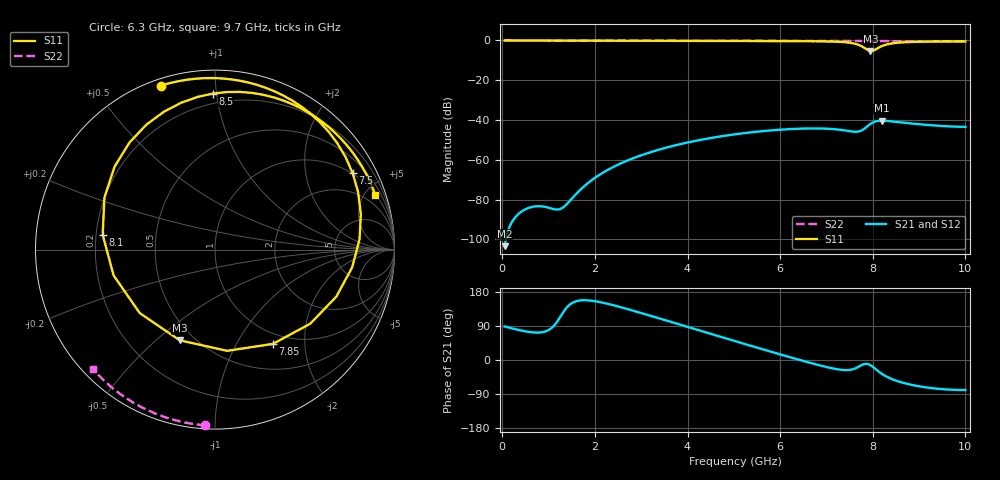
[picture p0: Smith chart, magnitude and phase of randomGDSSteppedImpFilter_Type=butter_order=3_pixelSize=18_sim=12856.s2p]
! freq	dB(S11)	phase(S11)	dB(S12)	phase(S12)
!  dB(S21)	phase(S21)	dB(S22)	phase(S22)
!S-par simulation data
#  GHz  S  DB  R 50
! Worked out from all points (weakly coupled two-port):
!   200 points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, 50 MHz to 10 GHz, reference 50 ohm
!   highest |S21| = -40.33 dB at 8.2 GHz (marker M1); lowest = -103.4 dB at 50 MHz (marker M2)
!   lowest |S11| = -5.3 dB at 7.95 GHz (marker M3), VSWR 3.37, Z = 20.9 - j30 ohm
!   |S11| at or under -10 dB: nowhere
!   |S22| runs from -0.5 to 0.0 dB; largest |S21 - S12| = 0
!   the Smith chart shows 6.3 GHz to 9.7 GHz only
!   S11 on the Smith chart (normalised r, x): 6.3 GHz: 0.03, +0.72; 7.5 GHz: 0.98, +3.62; 7.85 GHz: 0.84, -1.43; 8.1 GHz: 0.23, +0.06; 8.5 GHz: 0.14, +0.98; 9.7 GHz: 1.04, +5.83
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0.05  -0.00 -2.5  -103.42 88.5  -103.42 88.5  -0.00 -0.8
0.7  -0.04 -33.6  -83.45 72.5  -83.45 72.5  -0.01 -11.2
1.45  -0.08 -67.8  -80.88 145.5  -80.88 145.5  -0.03 -23.1
1.75  -0.10 -80.8  -73.66 157.8  -73.66 157.8  -0.04 -27.8
2.45  -0.12 -109.3  -63.00 142.9  -63.00 142.9  -0.05 -38.6
3.4  -0.16 -144.8  -54.79 109.4  -54.79 109.4  -0.07 -52.8
4.25  -0.20 -174.8  -50.12 78.2  -50.12 78.2  -0.09 -65.1
5.05  -0.24 156.9  -47.10 48.9  -47.10 48.9  -0.12 -76.3
6.3  -0.34 108.3  -44.46 4.3  -44.46 4.3  -0.17 -93.1
6.7  -0.40 89.6  -44.22 -9.2  -44.22 -9.2  -0.19 -98.3
7.15  -0.58 62.7  -44.56 -22.6  -44.56 -22.6  -0.22 -104.1
7.5  -1.14 29.0  -45.60 -26.2  -45.60 -26.2  -0.24 -108.5
7.7  -2.26 -7.4  -45.76 -17.4  -45.76 -17.4  -0.25 -111.0
7.85  -4.20 -58.4  -43.81 -10.0  -43.81 -10.0  -0.27 -112.9
7.95  -5.32 -111.2  -41.98 -13.7  -41.98 -13.7  -0.27 -114.1
8.1  -4.00 172.5  -40.50 -27.8  -40.50 -27.8  -0.28 -116.0
8.2  -2.78 140.4  -40.33 -36.8  -40.33 -36.8  -0.29 -117.2
8.35  -1.73 110.2  -40.55 -47.0  -40.55 -47.0  -0.30 -119.1
8.5  -1.21 90.7  -40.93 -54.4  -40.93 -54.4  -0.32 -120.9
9  -0.66 52.6  -42.12 -69.4  -42.12 -69.4  -0.36 -127.0
9.7  -0.50 18.9  -43.26 -78.4  -43.26 -78.4  -0.44 -135.5
10  -0.49 6.9  -43.42 -79.4  -43.42 -79.4  -0.47 -139.2
